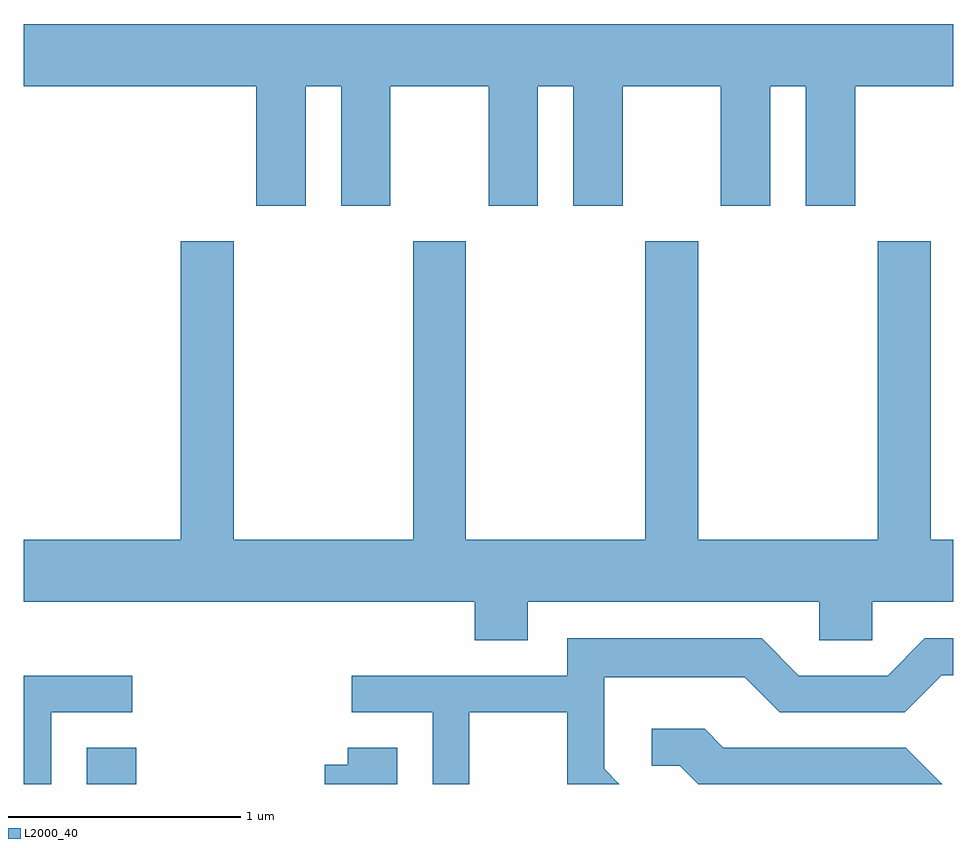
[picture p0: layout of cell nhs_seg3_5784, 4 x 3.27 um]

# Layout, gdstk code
import gdstk
lib = gdstk.Library(unit=1e-6, precision=1e-09)
def R(c, l, rs):  # rectangles x0, y0, x1, y1
    for r in rs: c.add(gdstk.rectangle(r[:2], r[2:], *l))
def P(c, l, *ps):  # polygons
    for p in ps: c.add(gdstk.Polygon(p, *l))
L2000_40 = (2000, 40)

nhs_seg3_5784 = lib.new_cell('nhs_seg3_5784')
R(nhs_seg3_5784, L2000_40, [(355.881,1131.892,356.094,1132.049)])
P(nhs_seg3_5784, L2000_40, [(356.824,1134.896),(356.976,1134.896),(356.976,1134.381),(357.189,1134.381),(357.189,1134.896),(357.611,1134.896),(357.611,1134.381),(357.824,1134.381),(357.824,1134.896),(357.976,1134.896),(357.976,1134.381),(358.189,1134.381),(358.189,1134.896),(358.611,1134.896),(358.611,1134.381),(358.824,1134.381),(358.824,1134.896),(358.976,1134.896),(358.976,1134.381),(359.189,1134.381),(359.189,1134.896),(359.611,1134.896),(359.611,1135.164),(355.611,1135.164),(355.611,1134.896),(356.611,1134.896),(356.611,1134.381),(356.824,1134.381)],
  [(357.779,1132.676),(359.036,1132.676),(359.036,1132.511),(359.264,1132.511),(359.264,1132.676),(359.611,1132.676),(359.611,1132.944),(359.514,1132.944),(359.514,1134.229),(359.286,1134.229),(359.286,1132.944),(358.514,1132.944),(358.514,1134.229),(358.286,1134.229),(358.286,1132.944),(357.514,1132.944),(357.514,1134.229),(357.286,1134.229),(357.286,1132.944),(356.514,1132.944),(356.514,1134.229),(356.286,1134.229),(356.286,1132.944),(355.611,1132.944),(355.611,1132.676),(357.551,1132.676),(357.551,1132.511),(357.779,1132.511)],
  [(357.529,1132.201),(357.951,1132.201),(357.951,1131.892),(358.174,1131.892),(358.109,1131.957),(358.109,1132.351),(358.714,1132.351),(358.864,1132.201),(359.402,1132.201),(359.562,1132.361),(359.611,1132.361),(359.611,1132.519),(359.489,1132.519),(359.329,1132.359),(358.947,1132.359),(358.787,1132.519),(357.951,1132.519),(357.951,1132.359),(357.023,1132.359),(357.023,1132.201),(357.371,1132.201),(357.371,1131.892),(357.529,1131.892)],
  [(355.729,1132.201),(356.078,1132.201),(356.078,1132.359),(355.611,1132.359),(355.611,1131.892),(355.729,1131.892)],
  [(359.407,1132.049),(358.622,1132.049),(358.542,1132.129),(358.313,1132.129),(358.313,1131.971),(358.434,1131.971),(358.513,1131.892),(359.564,1131.892)],
  [(357.219,1132.049),(357.006,1132.049),(357.006,1131.974),(356.906,1131.974),(356.906,1131.892),(357.219,1131.892)])

lib.write_gds('nhs_seg3_5784.gds')
